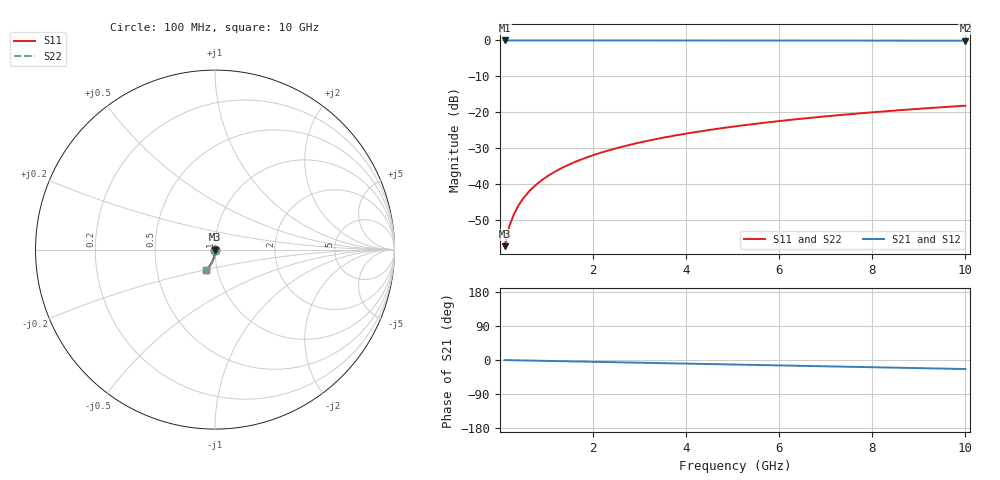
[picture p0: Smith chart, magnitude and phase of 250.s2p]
# Hz S RI R 50.00
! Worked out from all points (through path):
!   100 points, 100 MHz to 10 GHz, reference 50 ohm
!   highest |S21| = 0.00 dB at 100 MHz (marker M1); lowest = -0.1 dB at 10 GHz (marker M2)
!   group delay of S21, straight-line fit = 6.63 ps
!   lowest |S11| = -57.3 dB at 100 MHz (marker M3), VSWR 1.00, Z = 50.1 - j0.127 ohm
!   |S11| at or under -10 dB: start of sweep to end of sweep
!   |S22| runs from -57.3 to -18.2 dB; largest |S21 - S12| = 0
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1e8  0.00053 -0.00126  0.9994 -0.00413  0.9994 -0.00413  0.00053 -0.00126
2e8  0.000515 -0.00253  0.9994 -0.00827  0.9994 -0.00827  0.000515 -0.00253
3e8  0.000489 -0.00379  0.9994 -0.0124  0.9994 -0.0124  0.000489 -0.00379
4e8  0.000452 -0.00506  0.9993 -0.0165  0.9993 -0.0165  0.000452 -0.00506
5e8  0.000404 -0.00632  0.9992 -0.0207  0.9992 -0.0207  0.000404 -0.00632
6e8  0.000346 -0.00758  0.9991 -0.0248  0.9991 -0.0248  0.000346 -0.00758
7e8  0.000277 -0.00885  0.999 -0.0289  0.999 -0.0289  0.000277 -0.00885
8e8  0.000198 -0.0101  0.9988 -0.0331  0.9988 -0.0331  0.000198 -0.0101
9e8  0.000108 -0.0114  0.9987 -0.0372  0.9987 -0.0372  0.000108 -0.0114
1.1e9  -0.000104 -0.0139  0.9983 -0.0455  0.9983 -0.0455  -0.000104 -0.0139
1.4e9  -0.000501 -0.0177  0.9976 -0.0578  0.9976 -0.0578  -0.000501 -0.0177
1.8e9  -0.00118 -0.0227  0.9964 -0.0744  0.9964 -0.0744  -0.00118 -0.0227
2.1e9  -0.00179 -0.0265  0.9953 -0.0867  0.9953 -0.0867  -0.00179 -0.0265
2.5e9  -0.00276 -0.0315  0.9935 -0.1032  0.9935 -0.1032  -0.00276 -0.0315
2.9e9  -0.00389 -0.0364  0.9915 -0.1197  0.9915 -0.1197  -0.00389 -0.0364
3.4e9  -0.00554 -0.0426  0.9885 -0.1402  0.9885 -0.1402  -0.00554 -0.0426
4.2e9  -0.00872 -0.0523  0.9828 -0.1729  0.9828 -0.1729  -0.00872 -0.0523
5.1e9  -0.0131 -0.0629  0.975 -0.2095  0.975 -0.2095  -0.0131 -0.0629
5.9e9  -0.0176 -0.0721  0.9667 -0.2417  0.9667 -0.2417  -0.0176 -0.0721
6.7e9  -0.0227 -0.081  0.9573 -0.2736  0.9573 -0.2736  -0.0227 -0.081
8.4e9  -0.0355 -0.0985  0.9336 -0.3401  0.9336 -0.3401  -0.0355 -0.0985
1e10  -0.0496 -0.1132  0.9068 -0.4009  0.9068 -0.4009  -0.0496 -0.1132
